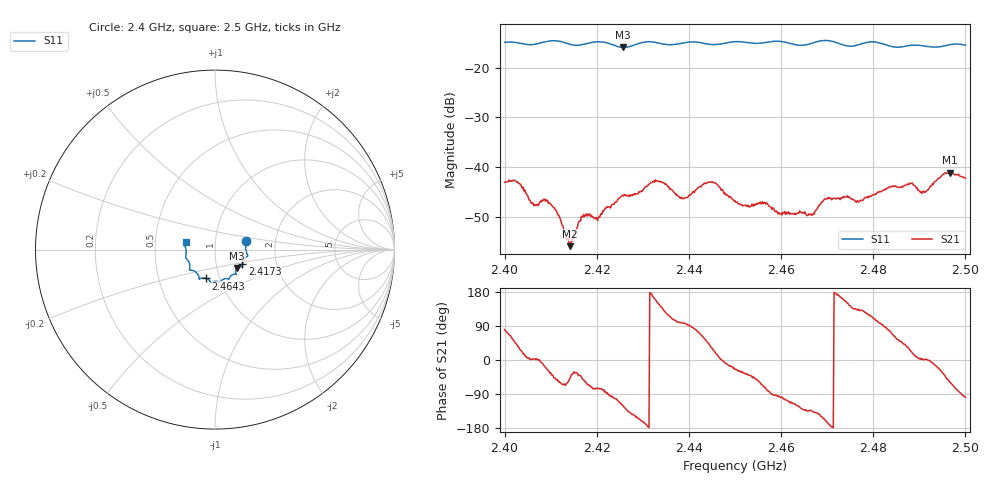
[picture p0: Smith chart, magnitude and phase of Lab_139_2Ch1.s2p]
# Hz S RI R 50
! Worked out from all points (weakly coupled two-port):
!   601 points, 2.4 GHz to 2.5 GHz, reference 50 ohm
!   highest |S21| = -41.12 dB at 2.4967 GHz (marker M1); lowest = -55.9 dB at 2.4142 GHz (marker M2)
!   lowest |S11| = -15.9 dB at 2.4257 GHz (marker M3), VSWR 1.38, Z = 62.5 - j13.1 ohm
!   |S11| at or under -10 dB: start of sweep to end of sweep
!   S12 and S22 are empty: the file has one direction only
!   S11 on the Smith chart (normalised r, x): 2.4 GHz: 1.41, +0.14; 2.4173 GHz: 1.34, -0.23; 2.4643 GHz: 0.86, -0.28; 2.5 GHz: 0.72, +0.06
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2.4e9  0.1736 0.0483  0.00118 0.00693  0 0  0 0
2.403e9  0.1747 0.0339  0.00561 0.00391  0 0  0 0
2.406333e9  0.1716 -0.00264  0.00409 0.000231  0 0  0 0
2.4095e9  0.1826 -0.0318  0.0038 -0.00208  0 0  0 0
2.414167e9  0.1652 -0.0485  0.00105 -0.00121  0 0  0 0
2.416667e9  0.1529 -0.0747  0.00227 -0.00226  0 0  0 0
2.417333e9  0.1521 -0.0821  0.00178 -0.00264  0 0  0 0
2.420167e9  0.154 -0.098  0.000759 -0.00279  0 0  0 0
2.425667e9  0.1228 -0.1025  -0.00262 -0.0045  0 0  0 0
2.433333e9  0.1124 -0.1373  -0.00619 0.00365  0 0  0 0
2.4385e9  0.081 -0.1568  -0.000667 0.00478  0 0  0 0
2.445333e9  0.0527 -0.1627  0.00627 0.00301  0 0  0 0
2.45e9  0.0285 -0.1807  0.00415 -0.00195  0 0  0 0
2.464333e9  -0.0499 -0.1605  -0.00214 -0.00281  0 0  0 0
2.466667e9  -0.0759 -0.1591  -0.00231 -0.00232  0 0  0 0
2.469833e9  -0.0885 -0.166  -0.00452 -0.00151  0 0  0 0
2.476667e9  -0.1228 -0.1167  -0.00306 0.00337  0 0  0 0
2.483333e9  -0.1403 -0.0899  0.0013 0.00607  0 0  0 0
2.488333e9  -0.1612 -0.0489  0.00643 0.00248  0 0  0 0
2.491e9  -0.1623 -0.0345  0.00574 0.000166  0 0  0 0
2.496667e9  -0.1689 0.025  0.00461 -0.00748  0 0  0 0
2.5e9  -0.1634 0.0424  -0.00117 -0.00764  0 0  0 0
